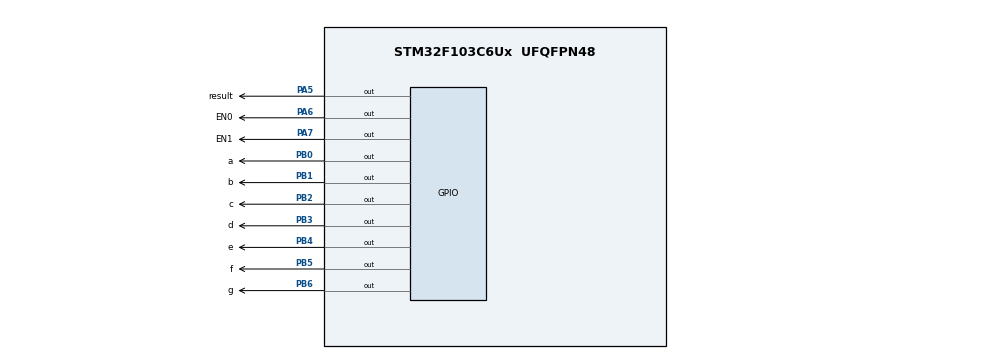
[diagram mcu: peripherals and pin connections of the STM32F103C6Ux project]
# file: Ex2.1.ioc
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Mcu.Family=STM32F1
Mcu.Name=STM32F103C6Ux
Mcu.Package=UFQFPN48
NVIC.PriorityGroup=NVIC_PRIORITYGROUP_4
NVIC.TIM2_IRQn=true\:0\:0\:false\:false\:true\:true\:true
PA5.GPIO_Label=result
PA5.Signal=GPIO_Output
PA6.GPIO_Label=EN0
PA6.Signal=GPIO_Output
PA7.GPIO_Label=EN1
PA7.Signal=GPIO_Output
PB0.GPIO_Label=a
PB0.Signal=GPIO_Output
PB1.GPIO_Label=b
PB1.Signal=GPIO_Output
PB2.GPIO_Label=c
PB2.Signal=GPIO_Output
PB3.GPIO_Label=d
PB3.Signal=GPIO_Output
PB4.GPIO_Label=e
PB4.Signal=GPIO_Output
PB5.GPIO_Label=f
PB5.Signal=GPIO_Output
PB6.GPIO_Label=g
PB6.Signal=GPIO_Output
ProjectManager.HeapSize=0x200
ProjectManager.StackSize=0x400
ProjectManager.TargetToolchain=STM32CubeIDE
RCC.APB1Freq_Value=8000000
RCC.APB2Freq_Value=8000000
TIM2.Period=9
TIM2.Prescaler=7999
VP_SYS_VS_ND.Mode=No_Debug
VP_TIM2_VS_ClockSourceINT.Mode=Internal
board=custom

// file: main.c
/* USER CODE BEGIN Header */
/**
  ******************************************************************************
  * @file           : main.c
  * @brief          : Main program body
  ******************************************************************************
  * @attention
  *
  * <h2><center>&copy; Copyright (c) 2022 STMicroelectronics.
  * All rights reserved.</center></h2>
  *
  * This software component is licensed by ST under BSD 3-Clause license,
  * the "License"; You may not use this file except in compliance with the
  * License. You may obtain a copy of the License at:
  *                        opensource.org/licenses/BSD-3-Clause
  *
  ******************************************************************************
  */
/* USER CODE END Header */
#include "main.h"
#include "timer.h"

TIM_HandleTypeDef htim2;

void SystemClock_Config(void);
static void MX_GPIO_Init(void);
static void MX_TIM2_Init(void);

/* USER CODE BEGIN 0 */
void control7SEG(int index) {
	 if(index==0) /* so 0 */
	{
		HAL_GPIO_WritePin(a_GPIO_Port, a_Pin, RESET);
		HAL_GPIO_WritePin(b_GPIO_Port, b_Pin, RESET);
		HAL_GPIO_WritePin(c_GPIO_Port, c_Pin, RESET);
		HAL_GPIO_WritePin(d_GPIO_Port, d_Pin, RESET);
		HAL_GPIO_WritePin(e_GPIO_Port, e_Pin, RESET);
		HAL_GPIO_WritePin(f_GPIO_Port, f_Pin, RESET);
		HAL_GPIO_WritePin(g_GPIO_Port, g_Pin, SET);

	}
	 if(index==1)
	{
		HAL_GPIO_WritePin(a_GPIO_Port, a_Pin, SET);
		HAL_GPIO_WritePin(b_GPIO_Port, b_Pin, RESET);
		HAL_GPIO_WritePin(c_GPIO_Port, c_Pin, RESET);
		HAL_GPIO_WritePin(d_GPIO_Port, d_Pin, SET);
		HAL_GPIO_WritePin(e_GPIO_Port, e_Pin, SET);
		HAL_GPIO_WritePin(f_GPIO_Port, f_Pin, SET);
		HAL_GPIO_WritePin(g_GPIO_Port, g_Pin, SET);

	}
	  if(index==2)
	{
		HAL_GPIO_WritePin(a_GPIO_Port, a_Pin, RESET);
		HAL_GPIO_WritePin(b_GPIO_Port, b_Pin, RESET);
		HAL_GPIO_WritePin(c_GPIO_Port, c_Pin, SET);
		HAL_GPIO_WritePin(d_GPIO_Port, d_Pin, RESET);
		HAL_GPIO_WritePin(e_GPIO_Port, e_Pin, RESET);
		HAL_GPIO_WritePin(f_GPIO_Port, f_Pin, SET);
		HAL_GPIO_WritePin(g_GPIO_Port, g_Pin, RESET);

	}
	 if(index==3)
	{
		HAL_GPIO_WritePin(a_GPIO_Port, a_Pin, RESET);
		HAL_GPIO_WritePin(b_GPIO_Port, b_Pin, RESET);
		HAL_GPIO_WritePin(c_GPIO_Port, c_Pin, RESET);
		HAL_GPIO_WritePin(d_GPIO_Port, d_Pin, RESET);
		HAL_GPIO_WritePin(e_GPIO_Port, e_Pin, SET);
		HAL_GPIO_WritePin(f_GPIO_Port, f_Pin, SET);
		HAL_GPIO_WritePin(g_GPIO_Port, g_Pin, RESET);

	}
	 if(index==4)
	{
		HAL_GPIO_WritePin(a_GPIO_Port, a_Pin, SET);
		HAL_GPIO_WritePin(b_GPIO_Port, b_Pin, RESET);
		HAL_GPIO_WritePin(c_GPIO_Port, c_Pin, RESET);
		HAL_GPIO_WritePin(d_GPIO_Port, d_Pin, SET);
		HAL_GPIO_WritePin(e_GPIO_Port, e_Pin, SET);
		HAL_GPIO_WritePin(f_GPIO_Port, f_Pin, RESET);
		HAL_GPIO_WritePin(g_GPIO_Port, g_Pin, RESET);

	}
	  if(index==5)
		{
		HAL_GPIO_WritePin(a_GPIO_Port, a_Pin, RESET);
		HAL_GPIO_WritePin(b_GPIO_Port, b_Pin, SET);
		HAL_GPIO_WritePin(c_GPIO_Port, c_Pin, RESET);
		HAL_GPIO_WritePin(d_GPIO_Port, d_Pin, RESET);
		HAL_GPIO_WritePin(e_GPIO_Port, e_Pin, SET);
		HAL_GPIO_WritePin(f_GPIO_Port, f_Pin, RESET);
		HAL_GPIO_WritePin(g_GPIO_Port, g_Pin, RESET);

	}
	  if(index==6)
	{
		HAL_GPIO_WritePin(a_GPIO_Port, a_Pin, RESET);
		HAL_GPIO_WritePin(b_GPIO_Port, b_Pin, SET);
		HAL_GPIO_WritePin(c_GPIO_Port, c_Pin, RESET);
		HAL_GPIO_WritePin(d_GPIO_Port, d_Pin, RESET);
		HAL_GPIO_WritePin(e_GPIO_Port, e_Pin, RESET);
		HAL_GPIO_WritePin(f_GPIO_Port, f_Pin, RESET);
		HAL_GPIO_WritePin(g_GPIO_Port, g_Pin, RESET);

	}
	  if(index==7)
	{
		HAL_GPIO_WritePin(a_GPIO_Port, a_Pin, RESET);
		HAL_GPIO_WritePin(b_GPIO_Port, b_Pin, RESET);
		HAL_GPIO_WritePin(c_GPIO_Port, c_Pin, RESET);
		HAL_GPIO_WritePin(d_GPIO_Port, d_Pin, SET);
		HAL_GPIO_WritePin(e_GPIO_Port, e_Pin, SET);
		HAL_GPIO_WritePin(f_GPIO_Port, f_Pin, SET);
		HAL_GPIO_WritePin(g_GPIO_Port, g_Pin, SET);

	}   if(index==8) {
		HAL_GPIO_WritePin(a_GPIO_Port, a_Pin, RESET);
		HAL_GPIO_WritePin(b_GPIO_Port, b_Pin, RESET);
		HAL_GPIO_WritePin(c_GPIO_Port, c_Pin, RESET);
		HAL_GPIO_WritePin(d_GPIO_Port, d_Pin, RESET);
		HAL_GPIO_WritePin(e_GPIO_Port, e_Pin, RESET);
		HAL_GPIO_WritePin(f_GPIO_Port, f_Pin, RESET);
		HAL_GPIO_WritePin(g_GPIO_Port, g_Pin, RESET);

	}  if(index==9) {
		HAL_GPIO_WritePin(a_GPIO_Port, a_Pin, RESET);
		HAL_GPIO_WritePin(b_GPIO_Port, b_Pin, RESET);
		HAL_GPIO_WritePin(c_GPIO_Port, c_Pin, RESET);
		HAL_GPIO_WritePin(d_GPIO_Port, d_Pin, RESET);
		HAL_GPIO_WritePin(e_GPIO_Port, e_Pin, SET);
		HAL_GPIO_WritePin(f_GPIO_Port, f_Pin, RESET);
		HAL_GPIO_WritePin(g_GPIO_Port, g_Pin, RESET);

	}

}
/* USER CODE END 0 */

int main(void)
{

  /* MCU Configuration--------------------------------------------------------*/

  /* Reset of all peripherals, Initializes the Flash interface and the Systick. */
  HAL_Init();

  /* Configure the system clock */
  SystemClock_Config();

  /* Initialize all configured peripherals */
  MX_GPIO_Init();
  MX_TIM2_Init();
  /* USER CODE BEGIN 2 */
  HAL_TIM_Base_Start_IT(&htim2);
  /* USER CODE END 2 */

  /* Infinite loop */
	  while (1) {
}
}

void SystemClock_Config(void)
{
  RCC_OscInitTypeDef RCC_OscInitStruct = {0};
  RCC_ClkInitTypeDef RCC_ClkInitStruct = {0};

  /** Initializes the RCC Oscillators according to the specified parameters
  * in the RCC_OscInitTypeDef structure.
  */
  RCC_OscInitStruct.OscillatorType = RCC_OSCILLATORTYPE_HSI;
  RCC_OscInitStruct.HSIState = RCC_HSI_ON;
  RCC_OscInitStruct.HSICalibrationValue = RCC_HSICALIBRATION_DEFAULT;
  RCC_OscInitStruct.PLL.PLLState = RCC_PLL_NONE;
  if (HAL_RCC_OscConfig(&RCC_OscInitStruct) != HAL_OK)
  {
    Error_Handler();
  }
  /** Initializes the CPU, AHB and APB buses clocks
  */
  RCC_ClkInitStruct.ClockType = RCC_CLOCKTYPE_HCLK|RCC_CLOCKTYPE_SYSCLK
                              |RCC_CLOCKTYPE_PCLK1|RCC_CLOCKTYPE_PCLK2;
  RCC_ClkInitStruct.SYSCLKSource = RCC_SYSCLKSOURCE_HSI;
  RCC_ClkInitStruct.AHBCLKDivider = RCC_SYSCLK_DIV1;
  RCC_ClkInitStruct.APB1CLKDivider = RCC_HCLK_DIV1;
  RCC_ClkInitStruct.APB2CLKDivider = RCC_HCLK_DIV1;

  if (HAL_RCC_ClockConfig(&RCC_ClkInitStruct, FLASH_LATENCY_0) != HAL_OK)
  {
    Error_Handler();
  }
}

static void MX_TIM2_Init(void)
{

  TIM_ClockConfigTypeDef sClockSourceConfig = {0};
  TIM_MasterConfigTypeDef sMasterConfig = {0};

  htim2.Instance = TIM2;
  htim2.Init.Prescaler = 7999;
  htim2.Init.CounterMode = TIM_COUNTERMODE_UP;
  htim2.Init.Period = 9;
  htim2.Init.ClockDivision = TIM_CLOCKDIVISION_DIV1;
  htim2.Init.AutoReloadPreload = TIM_AUTORELOAD_PRELOAD_DISABLE;
  if (HAL_TIM_Base_Init(&htim2) != HAL_OK)
  {
    Error_Handler();
  }
  sClockSourceConfig.ClockSource = TIM_CLOCKSOURCE_INTERNAL;
  if (HAL_TIM_ConfigClockSource(&htim2, &sClockSourceConfig) != HAL_OK)
  {
    Error_Handler();
  }
  sMasterConfig.MasterOutputTrigger = TIM_TRGO_RESET;
  sMasterConfig.MasterSlaveMode = TIM_MASTERSLAVEMODE_DISABLE;
  if (HAL_TIMEx_MasterConfigSynchronization(&htim2, &sMasterConfig) != HAL_OK)
  {
    Error_Handler();
  }

}

static void MX_GPIO_Init(void)
{
  GPIO_InitTypeDef GPIO_InitStruct = {0};

  /* GPIO Ports Clock Enable */
  __HAL_RCC_GPIOA_CLK_ENABLE();
  __HAL_RCC_GPIOB_CLK_ENABLE();

  /*Configure GPIO pin Output Level */
  HAL_GPIO_WritePin(GPIOA, result_Pin|EN0_Pin|EN1_Pin, GPIO_PIN_RESET);

  /*Configure GPIO pin Output Level */
  HAL_GPIO_WritePin(GPIOB, a_Pin|b_Pin|c_Pin|d_Pin
                          |e_Pin|f_Pin|g_Pin, GPIO_PIN_RESET);

  /*Configure GPIO pins : result_Pin EN0_Pin EN1_Pin */
  GPIO_InitStruct.Pin = result_Pin|EN0_Pin|EN1_Pin;
  GPIO_InitStruct.Mode = GPIO_MODE_OUTPUT_PP;
  GPIO_InitStruct.Pull = GPIO_NOPULL;
  GPIO_InitStruct.Speed = GPIO_SPEED_FREQ_LOW;
  HAL_GPIO_Init(GPIOA, &GPIO_InitStruct);

  /*Configure GPIO pins : a_Pin b_Pin c_Pin d_Pin
                           e_Pin f_Pin g_Pin */
  GPIO_InitStruct.Pin = a_Pin|b_Pin|c_Pin|d_Pin
                          |e_Pin|f_Pin|g_Pin;
  GPIO_InitStruct.Mode = GPIO_MODE_OUTPUT_PP;
  GPIO_InitStruct.Pull = GPIO_NOPULL;
  GPIO_InitStruct.Speed = GPIO_SPEED_FREQ_LOW;
  HAL_GPIO_Init(GPIOB, &GPIO_InitStruct);

}

/* USER CODE BEGIN 4 */
int count =0;
void  HAL_TIM_PeriodElapsedCallback( TIM_HandleTypeDef * htim )
{
	count++;
	if(0<=count<50)
	  	{	control7SEG(1);
	  		HAL_GPIO_TogglePin(EN0_GPIO_Port,EN0_Pin);

	  	}

	if(50<count<=100)
	  	{
			control7SEG(2);
	  		HAL_GPIO_TogglePin(EN1_GPIO_Port,EN1_Pin);

	  	}
	if (count>100)
	  		count=0;
}
/* USER CODE END 4 */

void Error_Handler(void)
{
  __disable_irq();
  while (1)
  {
  }
}

/************************ (C) COPYRIGHT STMicroelectronics *****END OF FILE****/
